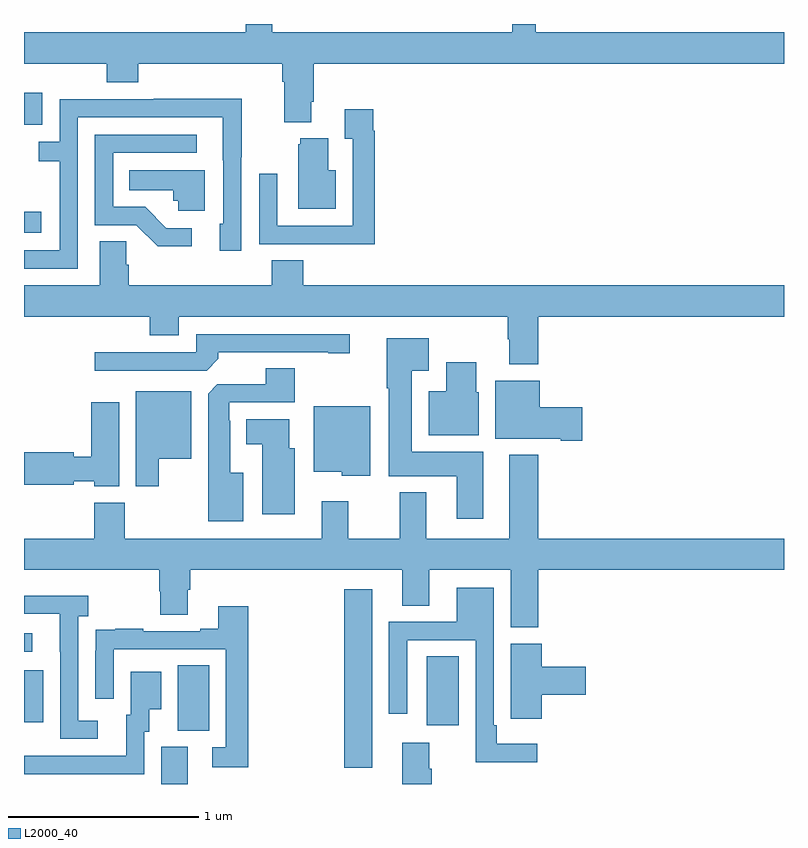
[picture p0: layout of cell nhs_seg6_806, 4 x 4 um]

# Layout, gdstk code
import gdstk
lib = gdstk.Library(unit=1e-6, precision=1e-09)
def R(c, l, rs):  # rectangles x0, y0, x1, y1
    for r in rs: c.add(gdstk.rectangle(r[:2], r[2:], *l))
def P(c, l, *ps):  # polygons
    for p in ps: c.add(gdstk.Polygon(p, *l))
L2000_40 = (2000, 40)

nhs_seg6_806 = lib.new_cell('nhs_seg6_806')
R(nhs_seg6_806, L2000_40, [(161.723,987.5,161.863,987.696), (162.686,987.585,162.832,988.525), (161.81,987.781,161.974,988.124), (163.121,987.81,163.288,988.172), (161,987.825,161.101,988.099), (161,988.197,161.044,988.293), (161,990.401,161.092,990.511), (161,990.969,161.097,991.138)])
P(nhs_seg6_806, L2000_40, [(162.511,991.09),(162.524,991.09),(162.524,991.292),(165,991.292),(165,991.456),(163.693,991.456),(163.693,991.5),(163.571,991.5),(163.571,991.456),(162.307,991.456),(162.307,991.5),(162.167,991.5),(162.167,991.456),(161,991.456),(161,991.292),(161.435,991.292),(161.435,991.193),(161.6,991.193),(161.6,991.292),(162.359,991.292),(162.359,991.196),(162.371,991.196),(162.371,990.983),(162.511,990.983)],
  [(161.283,991.008),(162.047,991.008),(162.047,990.784),(162.048,990.784),(162.048,990.45),(162.029,990.45),(162.029,990.306),(162.144,990.306),(162.144,990.799),(162.147,990.799),(162.147,991.106),(161.683,991.106),(161.683,991.104),(161.187,991.104),(161.187,990.879),(161.077,990.879),(161.077,990.778),(161.187,990.778),(161.187,990.309),(161,990.309),(161,990.213),(161.283,990.213)],
  [(162.845,990.938),(162.838,990.938),(162.838,991.051),(162.689,991.051),(162.689,990.895),(162.729,990.895),(162.729,990.438),(162.333,990.438),(162.333,990.712),(162.237,990.712),(162.237,990.342),(162.553,990.342),(162.553,990.341),(162.845,990.341)],
  [(161.884,990.426),(161.749,990.426),(161.638,990.537),(161.469,990.537),(161.469,990.822),(161.908,990.822),(161.908,990.918),(161.373,990.918),(161.373,990.441),(161.592,990.441),(161.705,990.329),(161.884,990.329)],
  [(162.64,990.73),(162.601,990.73),(162.601,990.898),(162.455,990.898),(162.455,990.867),(162.443,990.867),(162.443,990.527),(162.64,990.527)],
  [(161.95,990.73),(161.554,990.73),(161.554,990.626),(161.785,990.626),(161.785,990.57),(161.811,990.57),(161.811,990.518),(161.95,990.518)],
  [(163.706,989.96),(165,989.96),(165,990.124),(162.47,990.124),(162.47,990.257),(162.305,990.257),(162.305,990.124),(161.552,990.124),(161.552,990.233),(161.538,990.233),(161.538,990.356),(161.399,990.356),(161.399,990.124),(161,990.124),(161,989.96),(161.663,989.96),(161.663,989.861),(161.815,989.861),(161.815,989.96),(163.546,989.96),(163.546,989.84),(163.553,989.84),(163.553,989.708),(163.706,989.708)],
  [(162.023,989.738),(162.023,989.772),(162.602,989.772),(162.602,989.767),(162.715,989.767),(162.715,989.868),(161.907,989.868),(161.907,989.772),(161.373,989.772),(161.373,989.676),(161.961,989.676)],
  [(163.417,989.248),(163.042,989.248),(163.042,989.675),(163.129,989.675),(163.129,989.845),(162.908,989.845),(162.908,989.584),(162.92,989.584),(162.92,989.12),(163.277,989.12),(163.277,988.896),(163.417,988.896)],
  [(163.393,989.562),(163.381,989.562),(163.381,989.719),(163.223,989.719),(163.223,989.566),(163.13,989.566),(163.13,989.336),(163.393,989.336)],
  [(162.154,989.137),(162.085,989.137),(162.085,989.411),(162.081,989.411),(162.081,989.508),(162.425,989.508),(162.425,989.687),(162.272,989.687),(162.272,989.604),(162.018,989.604),(161.969,989.555),(161.969,988.883),(162.154,988.883)],
  [(163.939,989.484),(163.714,989.484),(163.714,989.623),(163.481,989.623),(163.481,989.318),(163.826,989.318),(163.826,989.306),(163.939,989.306)],
  [(161.71,989.213),(161.881,989.213),(161.881,989.566),(161.588,989.566),(161.588,989.067),(161.71,989.067)],
  [(161.5,989.509),(161.354,989.509),(161.354,989.223),(161.262,989.223),(161.262,989.246),(161,989.246),(161,989.075),(161.262,989.075),(161.262,989.093),(161.37,989.093),(161.37,989.066),(161.5,989.066)],
  [(162.823,989.488),(162.524,989.488),(162.524,989.144),(162.672,989.144),(162.672,989.123),(162.823,989.123)],
  [(162.424,989.268),(162.397,989.268),(162.397,989.419),(162.17,989.419),(162.17,989.288),(162.254,989.288),(162.254,988.92),(162.424,988.92)],
  [(163.706,988.628),(165,988.628),(165,988.792),(163.706,988.792),(163.706,989.233),(163.553,989.233),(163.553,988.792),(163.117,988.792),(163.117,989.035),(162.977,989.035),(162.977,988.792),(162.706,988.792),(162.706,988.987),(162.566,988.987),(162.566,988.792),(161.529,988.792),(161.529,988.981),(161.369,988.981),(161.369,988.792),(161,988.792),(161,988.628),(161.711,988.628),(161.711,988.515),(161.716,988.515),(161.716,988.39),(161.863,988.39),(161.863,988.522),(161.876,988.522),(161.876,988.628),(162.992,988.628),(162.992,988.438),(163.132,988.438),(163.132,988.628),(163.562,988.628),(163.562,988.324),(163.706,988.324)],
  [(163.702,987.712),(163.489,987.712),(163.489,987.808),(163.473,987.808),(163.473,988.534),(163.277,988.534),(163.277,988.353),(162.921,988.353),(162.921,987.87),(163.017,987.87),(163.017,988.257),(163.377,988.257),(163.377,987.614),(163.702,987.614)],
  [(161.389,987.834),(161.286,987.834),(161.286,988.382),(161.338,988.382),(161.338,988.492),(161,988.492),(161,988.395),(161.189,988.395),(161.189,988.195),(161.19,988.195),(161.19,987.738),(161.389,987.738)],
  [(162.179,988.435),(162.023,988.435),(162.023,988.318),(161.927,988.318),(161.927,988.305),(161.627,988.305),(161.627,988.318),(161.479,988.318),(161.479,988.311),(161.377,988.311),(161.377,988.202),(161.376,988.202),(161.376,987.948),(161.472,987.948),(161.472,988.209),(162.063,988.209),(162.063,987.693),(161.991,987.693),(161.991,987.588),(162.179,987.588)],
  [(163.724,987.971),(163.957,987.971),(163.957,988.118),(163.724,988.118),(163.724,988.239),(163.562,988.239),(163.562,987.955),(163.563,987.955),(163.563,987.843),(163.724,987.843)],
  [(161.634,987.774),(161.659,987.774),(161.659,987.893),(161.722,987.893),(161.722,988.09),(161.561,988.09),(161.561,987.864),(161.537,987.864),(161.537,987.648),(161.053,987.648),(161.053,987.649),(161,987.649),(161,987.552),(161.634,987.552)],
  [(163.145,987.581),(163.132,987.581),(163.132,987.718),(162.992,987.718),(162.992,987.5),(163.145,987.5)])

lib.write_gds('nhs_seg6_806.gds')
